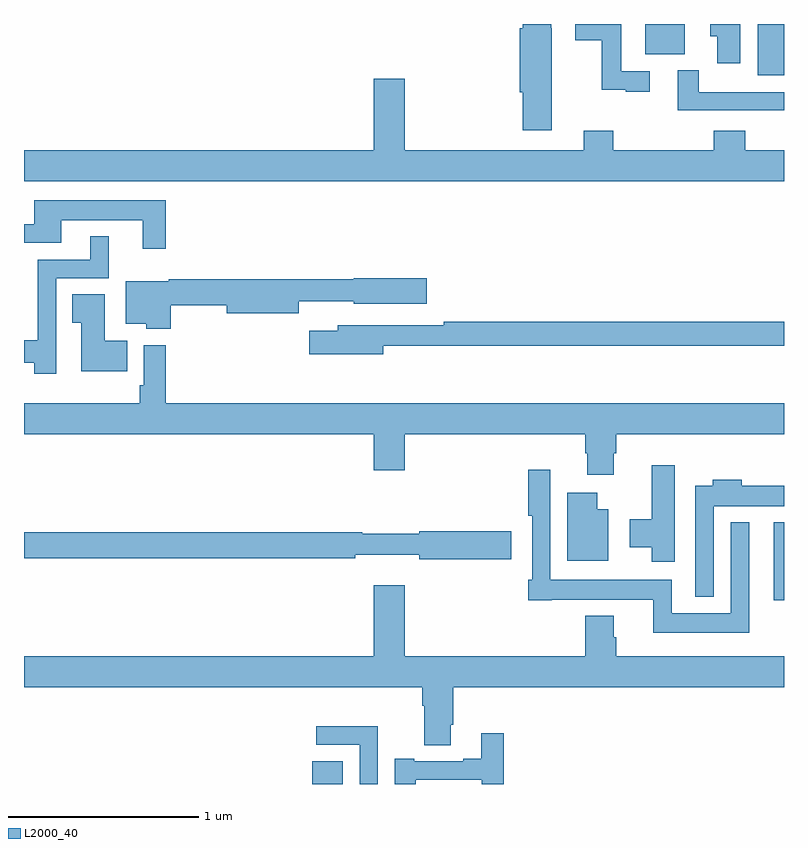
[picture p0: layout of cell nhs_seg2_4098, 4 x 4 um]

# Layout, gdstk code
import gdstk
lib = gdstk.Library(unit=1e-6, precision=1e-09)
def R(c, l, rs):  # rectangles x0, y0, x1, y1
    for r in rs: c.add(gdstk.rectangle(r[:2], r[2:], *l))
def P(c, l, *ps):  # polygons
    for p in ps: c.add(gdstk.Polygon(p, *l))
L2000_40 = (2000, 40)

nhs_seg2_4098 = lib.new_cell('nhs_seg2_4098')
R(nhs_seg2_4098, L2000_40, [(332.516,641.8,332.677,641.921), (334.946,642.766,335,643.177), (334.862,645.53,335,645.8), (334.271,645.641,334.477,645.8)])
P(nhs_seg2_4098, L2000_40, [(333.778,645.777),(333.775,645.777),(333.775,645.8),(333.626,645.8),(333.626,645.777),(333.608,645.777),(333.608,645.441),(333.626,645.441),(333.626,645.24),(333.778,645.24)],
  [(334.294,645.552),(334.143,645.552),(334.143,645.8),(333.9,645.8),(333.9,645.715),(334.042,645.715),(334.042,645.455),(334.166,645.455),(334.166,645.444),(334.294,645.444)],
  [(334.771,645.8),(334.613,645.8),(334.613,645.736),(334.649,645.736),(334.649,645.594),(334.771,645.594)],
  [(335,645.441),(334.766,645.441),(334.766,645.442),(334.552,645.442),(334.552,645.556),(334.442,645.556),(334.442,645.345),(335,645.345)],
  [(335,645.136),(334.796,645.136),(334.796,645.238),(334.631,645.238),(334.631,645.136),(334.1,645.136),(334.1,645.238),(333.947,645.238),(333.947,645.136),(333.004,645.136),(333.004,645.511),(332.84,645.511),(332.84,645.136),(331,645.136),(331,644.972),(335,644.972)],
  [(331.747,644.872),(331.055,644.872),(331.055,644.745),(331,644.745),(331,644.649),(331.195,644.649),(331.195,644.768),(331.625,644.768),(331.625,644.616),(331.747,644.616)],
  [(331.17,644.463),(331.447,644.463),(331.447,644.683),(331.349,644.683),(331.349,644.559),(331.073,644.559),(331.073,644.135),(331,644.135),(331,644.018),(331.054,644.018),(331.054,643.959),(331.17,643.959)],
  [(331.773,644.32),(332.066,644.32),(332.066,644.278),(332.446,644.278),(332.446,644.34),(332.736,644.34),(332.736,644.327),(333.121,644.327),(333.121,644.462),(332.736,644.462),(332.736,644.456),(331.761,644.456),(331.761,644.446),(331.535,644.446),(331.535,644.222),(331.644,644.222),(331.644,644.195),(331.773,644.195)],
  [(331.544,644.134),(331.426,644.134),(331.426,644.378),(331.255,644.378),(331.255,644.227),(331.301,644.227),(331.301,643.973),(331.544,643.973)],
  [(332.89,644.106),(335,644.106),(335,644.234),(333.208,644.234),(333.208,644.214),(332.651,644.214),(332.651,644.185),(332.502,644.185),(332.502,644.063),(332.89,644.063)],
  [(334.105,643.542),(334.118,643.542),(334.118,643.64),(335,643.64),(335,643.804),(331.745,643.804),(331.745,644.11),(331.629,644.11),(331.629,643.9),(331.609,643.9),(331.609,643.804),(331,643.804),(331,643.64),(332.84,643.64),(332.84,643.452),(333.004,643.452),(333.004,643.64),(333.953,643.64),(333.953,643.542),(333.965,643.542),(333.965,643.428),(334.105,643.428)],
  [(334.426,643.477),(334.304,643.477),(334.304,643.194),(334.187,643.194),(334.187,643.046),(334.304,643.046),(334.304,642.969),(334.426,642.969)],
  [(334.816,643.177),(334.719,643.177),(334.719,642.7),(334.41,642.7),(334.41,642.874),(333.771,642.874),(333.771,643.453),(333.655,643.453),(333.655,643.213),(333.675,643.213),(333.675,642.874),(333.655,642.874),(333.655,642.768),(333.778,642.768),(333.778,642.77),(334.313,642.77),(334.313,642.596),(334.816,642.596)],
  [(334.629,643.262),(335,643.262),(335,643.369),(334.778,643.369),(334.778,643.402),(334.625,643.402),(334.625,643.369),(334.533,643.369),(334.533,642.785),(334.629,642.785)],
  [(334.075,643.246),(334.018,643.246),(334.018,643.333),(333.86,643.333),(333.86,642.974),(334.075,642.974)],
  [(333.565,643.13),(333.08,643.13),(333.08,643.117),(332.78,643.117),(332.78,643.124),(331,643.124),(331,642.988),(332.744,642.988),(332.744,643.007),(333.08,643.007),(333.08,642.983),(333.565,642.983)],
  [(333.247,642.112),(333.26,642.112),(333.26,642.308),(335,642.308),(335,642.472),(334.118,642.472),(334.118,642.573),(334.105,642.573),(334.105,642.685),(333.953,642.685),(333.953,642.472),(333.004,642.472),(333.004,642.847),(332.84,642.847),(332.84,642.472),(331,642.472),(331,642.308),(333.095,642.308),(333.095,642.212),(333.107,642.212),(333.107,642.004),(333.247,642.004)],
  [(332.862,642.104),(332.538,642.104),(332.538,642.006),(332.766,642.006),(332.766,641.8),(332.862,641.8)],
  [(333.061,641.823),(333.408,641.823),(333.408,641.8),(333.524,641.8),(333.524,642.067),(333.407,642.067),(333.407,641.932),(333.311,641.932),(333.311,641.919),(333.055,641.919),(333.055,641.932),(332.951,641.932),(332.951,641.8),(333.061,641.8)])

lib.write_gds('nhs_seg2_4098.gds')
